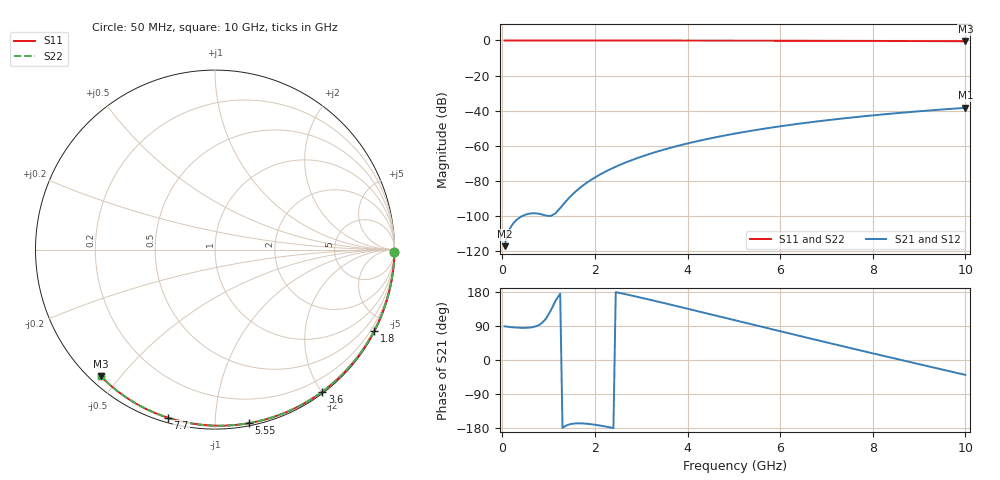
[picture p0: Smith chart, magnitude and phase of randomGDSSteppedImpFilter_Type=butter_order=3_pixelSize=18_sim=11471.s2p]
! freq	dB(S11)	phase(S11)	dB(S12)	phase(S12)
!  dB(S21)	phase(S21)	dB(S22)	phase(S22)
!S-par simulation data
#  GHz  S  DB  R 50
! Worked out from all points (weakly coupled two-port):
!   200 points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, 50 MHz to 10 GHz, reference 50 ohm
!   highest |S21| = -38.42 dB at 10 GHz (marker M1); lowest = -117.3 dB at 50 MHz (marker M2)
!   lowest |S11| = -0.4 dB at 10 GHz (marker M3), VSWR 38.97, Z = 1.54 - j22.2 ohm
!   |S11| at or under -10 dB: nowhere
!   |S22| runs from -0.4 to 0.0 dB; largest |S21 - S12| = 0
!   S11 on the Smith chart (normalised r, x): 50 MHz: open; 1.8 GHz: 0.04, -4.15; 3.6 GHz: 0.02, -2.01; 5.55 GHz: 0.02, -1.21; 7.7 GHz: 0.02, -0.76; 10 GHz: 0.03, -0.44
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0.05  -0.00 -0.8  -117.34 88.9  -117.34 88.9  -0.00 -0.8
0.45  -0.01 -6.9  -99.91 84.8  -99.91 84.8  -0.01 -6.9
0.9  -0.02 -13.7  -99.59 103.1  -99.59 103.1  -0.02 -13.7
1.75  -0.03 -26.3  -82.56 -167.5  -82.56 -167.5  -0.03 -26.3
1.8  -0.03 -27.1  -81.60 -167.9  -81.60 -167.9  -0.03 -27.1
1.9  -0.04 -28.6  -79.81 -169.2  -79.81 -169.2  -0.04 -28.5
2.05  -0.04 -30.8  -77.37 -171.8  -77.37 -171.8  -0.04 -30.7
2.25  -0.04 -33.7  -74.52 -176.1  -74.52 -176.1  -0.04 -33.7
2.45  -0.05 -36.6  -72.00 179.1  -72.00 179.1  -0.05 -36.6
2.65  -0.05 -39.5  -69.75 173.9  -69.75 173.9  -0.05 -39.4
3  -0.06 -44.5  -66.31 164.3  -66.31 164.3  -0.06 -44.5
3.4  -0.07 -50.1  -62.95 152.9  -62.95 152.9  -0.07 -50.1
3.6  -0.07 -52.9  -61.45 147.1  -61.45 147.1  -0.07 -52.9
4.3  -0.09 -62.6  -56.92 126.4  -56.92 126.4  -0.09 -62.5
5.05  -0.11 -72.6  -52.99 104.1  -52.99 104.1  -0.11 -72.5
5.55  -0.13 -79.1  -50.76 89.2  -50.76 89.2  -0.13 -79.0
6.1  -0.15 -86.1  -48.59 72.9  -48.59 72.9  -0.15 -86.0
6.7  -0.18 -93.5  -46.49 55.3  -46.49 55.3  -0.18 -93.5
7.7  -0.24 -105.6  -43.52 26.2  -43.52 26.2  -0.24 -105.5
8.35  -0.29 -113.2  -41.86 7.5  -41.86 7.5  -0.29 -113.2
9.15  -0.36 -122.5  -40.07 -15.3  -40.07 -15.3  -0.36 -122.4
10  -0.45 -132.1  -38.42 -39.3  -38.42 -39.3  -0.45 -132.1
